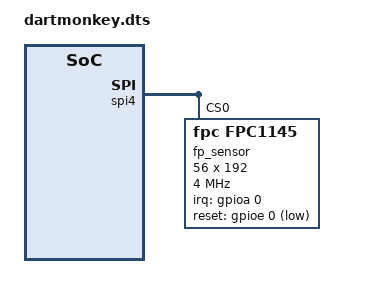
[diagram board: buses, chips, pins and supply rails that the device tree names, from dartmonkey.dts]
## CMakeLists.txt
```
# Copyright 2024 The ChromiumOS Authors
# Use of this source code is governed by a BSD-style license that can be
# found in the LICENSE file.

zephyr_library_sources("src/power.c")
zephyr_library_sources("src/init.c")

zephyr_library_sources_ifdef(CONFIG_DARTMONKEY_EC_RO_QUIRKS "src/ec_quirks.c")
zephyr_library_sources_ifdef(CONFIG_EC_HOST_CMD "src/fp_transport.c")
```

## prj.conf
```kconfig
# Copyright 2024 The ChromiumOS Authors
# Use of this source code is governed by a BSD-style license that can be
# found in the LICENSE file.

CONFIG_BOARD_DARTMONKEY=y

# Peripherials
CONFIG_COUNTER=y
CONFIG_DMA=y

# Hwinfo (used by cros-system driver for STM32)
CONFIG_HWINFO=y

# STM32 flash driver options
CONFIG_FLASH_STM32_READOUT_PROTECTION=y
#CONFIG_FLASH_STM32_WRITE_PROTECT=y
#CONFIG_FLASH_STM32_BLOCK_REGISTERS=y

# STM32 entropy driver options
CONFIG_ENTROPY_STM32_THR_POOL_SIZE=32
CONFIG_ENTROPY_STM32_THR_THRESHOLD=16

# IWDG watchdog
CONFIG_IWDG_STM32_INITIAL_TIMEOUT=10000
CONFIG_PLATFORM_EC_WATCHDOG_PERIOD_MS=10000
CONFIG_PLATFORM_EC_WATCHDOG_WARNING_LEADING_TIME_MS=3000
#CONFIG_PLATFORM_EC_WATCHDOG_HELPER=y

# Set HOOK_TICK INTERVAL in microseconds to reload watchdog
CONFIG_CROS_EC_HOOK_TICK_INTERVAL=500000

# CrOS drivers
# CONFIG_CROS_FLASH_READOUT_PROTECTION=y
CONFIG_CROS_SYSTEM_STM32=y

# Priorities
CONFIG_PLATFORM_EC_FLASH_INIT_PRIORITY=60
CONFIG_CROS_SYSTEM_STM32_INIT_PRIORITY=71
CONFIG_PLATFORM_EC_SYSTEM_PRE_INIT_PRIORITY=72

# Host Commands
CONFIG_EC_HOST_CMD_INITIALIZE_AT_BOOT=y
CONFIG_EC_HOST_CMD_HANDLER_TX_BUFFER_SIZE=552
#CONFIG_EC_HOST_CMD_HANDLER_TX_BUFFER_SIZE=549
CONFIG_EC_HOST_CMD_HANDLER_RX_BUFFER_SIZE=544
CONFIG_EC_HOST_CMD_BACKEND_SPI=y

# Increase IDLE stack for the IDLE timer
#CONFIG_IDLE_STACK_SIZE=550

# Allow usage of "%l" and "%i"
#CONFIG_PLATFORM_EC_PRINTF_LONG_IS_32BITS=y

# Enable DMA for SPI, which is used for communication with a sensor
#CONFIG_SPI_STM32_DMA=y
CONFIG_SPI_STM32_DMA=n
#CONFIG_SPI_STM32_INTERRUPT=y

# Enable and create uncachable buffers needed for DMA
CONFIG_NOCACHE_MEMORY=y
CONFIG_DCACHE=y

CONFIG_TIMER_READS_ITS_FREQUENCY_AT_RUNTIME=y

# Clear MPU and cache before boot
CONFIG_INIT_ARCH_HW_AT_BOOT=y
```

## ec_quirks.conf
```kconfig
# Copyright 2024 The ChromiumOS Authors
# Use of this source code is governed by a BSD-style license that can be
# found in the LICENSE file.

CONFIG_DARTMONKEY_EC_RO_QUIRKS=y
#CONFIG_CROS_FLASH_STM32_EC_JUMP_STRUCTURE=y
```

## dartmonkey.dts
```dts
/* Copyright 2023 The ChromiumOS Authors.
 * Use of this source code is governed by a BSD-style license that can be
 * found in the LICENSE file.
 */

#include "soc.dtsi"
#include "gpio.dtsi"
#include "rwsig.dtsi"

#include <cros/integrated_fwid.dtsi>

/ {
	chosen {
		cros-fp,fingerprint-sensor = &fp_sensor;
		zephyr,host-cmd-spi-backend = &spi1;
		zephyr,nocache-ram = &sram4;
	};

	named-bbram-regions {
		compatible = "named-bbram-regions";

		scratchpad {
			offset = <0x00>;
			size = <0x02>;
		};
		// TODO check that with STM32_EXTENDED_RESET_FLAGS
		saved-reset-flags {
			offset = <0x02>;
			size = <0x04>;
		};
		saved-panic-reason {
			offset = <0x06>;
			size = <0x02>;
		};
		saved-panic-info {
			offset = <0x08>;
			size = <0x02>;
		};
		saved-panic-exception {
			offset = <0x0a>;
			size = <0x02>;
		};
		saved-panic-flags {
			offset = <0x0c>;
			size = <0x02>;
		};
	};

	binman {
		/* First 6 sectors (128KB each) used for RO */
		wp-ro {
			offset = <0x0>;
			size = <0xc0000>;
			ec-ro {
				pad-byte = <0xff>;
			};
		};

		/* Two sectors used for rollback (128KB each) */
		rollback0 {
			offset = <0xc0000>;
			size = <0x20000>;
			type = "blob";
			filename = "../build-rw/rollback_initial_data.bin";
		};

		rollback1 {
			offset = <0xe0000>;
			size = <0x20000>;
			type = "blob";
			filename = "../build-rw/rollback_initial_data.bin";
		};

		/* Remaining 8 sectors (128KB each) used for RW */
		ec-rw {
			offset = <0x100000>;
			size = <0x100000>;
			rw-fw {
				/*
				 * Clang doesn't emit STT_SECTION symbols (also
				 * called 'section symbols'), so 'rom_start'
				 * symbol is not available. Fortunately, Zephyr
				 * linker scripts provide '__rom_start_address'
				 * symbol which points to the beginning of
				 * 'rom_start' section.
				 */
				zephyr-rw {
					elf-base-sym = "__rom_start_address";
				};
			};
		};
		pad-byte = <0xff>;
	};
};

&flash0 {
	partitions {
		compatible = "fixed-partitions";
		#address-cells = <1>;
		#size-cells = <1>;

		/* Seventh sector is used as first rollback sector. */
		rollback0: partition@c0000 {
			label = "rollback0";
			reg = <0xc0000 DT_SIZE_K(128)>;
		};

		/* Eighth sector is used as second rollback sector. */
		rollback1: partition@e0000 {
			label = "rollback1";
			reg = <0xe0000 DT_SIZE_K(128)>;
		};
	};
};

&spi4 {
	fp_sensor: fpc1145@0 {
		compatible = "fpc,fpc1145";
		reg = <0>;
		spi-max-frequency = <4000000>;

		width = <56>;
		height = <192>;
		bits-per-pixel = <8>;
		v4l2-pixel-format = "V4L2_PIX_FMT_GREY";

		irq-gpios = <&gpioa 0 (GPIO_ACTIVE_HIGH | GPIO_PULL_DOWN)>;
		reset-gpios = <&gpioe 0 GPIO_ACTIVE_LOW>;
	};
};
```

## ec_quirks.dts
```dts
/* Copyright 2023 The ChromiumOS Authors.
 * Use of this source code is governed by a BSD-style license that can be
 * found in the LICENSE file.
 */

/*
 * RDP1 byte can be any byte (except 0xAA and 0xCC). By default STM32 HAL uses
 * 0x55, but old FPMCU RO reports RDP1 when the RDP byte is 0x00, so override
 * the default.
 */
// TODO check that
//&flash {
//	st,rdp1-enable-byte = <0x00>;
//};
```

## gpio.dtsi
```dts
/* Copyright 2024 The ChromiumOS Authors.
 * Use of this source code is governed by a BSD-style license that can be
 * found in the LICENSE file.
 */

#include <dt-bindings/gpio_defines.h>

/ {
	aliases {
		gpio-wp = &ec_wp_l;
	};

	named-gpios {
		compatible = "named-gpios";

		ap_ec_int_l {
			gpios = <&gpioa 1 GPIO_OUTPUT_HIGH>;
			enum-name = "GPIO_EC_INT_L";
		};

		// TODO check ifdef APPLY_RESET_LOOP_FIX
		ec_wp_l: write-protect {
			gpios = <&gpiob 7 GPIO_INPUT>;
		};

		/* TODO(b/178808871): Only enable pull up when doing detection. */
		fp_sensor_sel: fp_sensor_sel {
			gpios = <&gpioe 1 (GPIO_INPUT | GPIO_PULL_UP)>;
		};

		slp_l: slp_l {
			gpios = <&gpiod 13 GPIO_INPUT>;
		};

		slp_alt_l: slp_alt_l {
			gpios = <&gpioa 11 GPIO_INPUT>;
		};

//		transport_sel: transport_sel {
//			gpios = <&gpiob 1 GPIO_INPUT>;
//		};
//
		user_pres_l {
			gpios = <&gpioc 5 GPIO_ODR_HIGH>;
		};

		/* Used to the transport layer detection at the beginning of the
		 * boot.
		 */
		div_highside: div_highside {
			gpios = <&gpiob 8 GPIO_OUTPUT_HIGH>;
		};

		/* unimplemented GPIOs */
		entering-rw {
			enum-name = "GPIO_ENTERING_RW";
		};
	};
};
```

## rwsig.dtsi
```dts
/* Copyright 2024 The ChromiumOS Authors.
 * Use of this source code is governed by a BSD-style license that can be
 * found in the LICENSE file.
 */

&binman {
	wp-ro {
		ec-ro {
			key-ro {
				compatible = "cros-ec,flash-layout";
				type = "section";
				offset = <(0xc0000 - 0x400)>;
				size = <0x400>;
			};
		};
	};

	ec-rw {
		rw-fw {
			// TODO confirm that node
			rw-rbver {
				size = <4>;
				type = "section";
				/* points to
				 * current_image_data.rollback_version
				 */
				offset-from-elf = <&zephyr_rw>,
					"current_image_data", <40>;
				overlap;
			};

			sig-rw {
				type = "section";
				/* Offset within rw-fw */
				offset = <(0x100000 - 0x400)>;
				size = <0x400>;
			};
			pad-byte = <0xff>;
		};
	};
};
```

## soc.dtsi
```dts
/* Copyright 2024 The ChromiumOS Authors.
 * Use of this source code is governed by a BSD-style license that can be
 * found in the LICENSE file.
 */

#include <cros/st/stm32.dtsi>
#include <zephyr/dt-bindings/pinctrl/stm32-pinctrl.h>
#include <st/h7/stm32h743vitx-pinctrl.dtsi>

&iwdg {
	status = "okay";
};

//&timers9 {
//	/*
//	 * The counter has 16 bits. TIMPRE bit in RCC_DCKCFGR is 0 by default.
//	 * On Dragonclaw board APB2 prescaler is set to 2. In this case APB2
//	 * clock is 48Mhz, but TIM9 input clock is doubled, because TIMPRE=0
//	 * and APB2 prescaler > 1. Effectively TIM9 is clocked with 96Mhz clock.
//	 * Setting prescaler to 16384 will give about 11.2s maximum timeout.
//	 */
//	st,prescaler = <0x4000>;
//	status = "okay";
//	wdg_helper_counter: counter {
//		status = "okay";
//	};
//};
//
//&wdg_helper {
//	counter = <&wdg_helper_counter>;
//	status = "okay";
//};

/* RNG module uses hsi48 clock as a source by default. */
/* TODO: Enable only to get random number. Connect it to RNG and device suspend and resume?. */
&clk_hsi48 {
	status = "okay";
};

&perck {
	status = "okay";
	clocks = <&rcc STM32_SRC_HSI_KER CKPER_SEL(0)>;
};

&rng {
	status = "okay";
};

&dmamux1 {
	status = "okay";
};

// TODO USE only DMA2?
&dma1 {
	status = "okay";
};

&dma2 {
	status = "okay";
};

&spi1 {
	compatible = "st,stm32h7-spi", "st,stm32-spi-host-cmd", "st,stm32-spi-fifo";
	status = "okay";

	pinctrl-0 = <&spi1_nss_pa4 &spi1_sck_pa5 &spi1_miso_pa6 &spi1_mosi_pa7>;
	pinctrl-names = "default";

	/* Select per_ck(hsi_ker_ck) as source clock for SPI1 */
	clocks = <&rcc STM32_CLOCK(APB2, 12U)>,
		 <&rcc STM32_SRC_CKPER SPI123_SEL(4)>;

	dmas = <&dmamux1 11 38 (STM32_DMA_PERIPH_TX | STM32_DMA_PRIORITY_VERY_HIGH)
		 &dmamux1 8 37 (STM32_DMA_PERIPH_RX | STM32_DMA_PRIORITY_VERY_HIGH)>;
	dma-names = "tx", "rx";

	/* This field is used to point at our CS pin */
	cs-gpios = <&gpioa 4 (GPIO_PULL_UP)>;
};

&spi4 {
//	pinctrl-0 = <&spi4_nss_pe4 &spi4_sck_pe2
//		     &spi4_miso_pe5 &spi4_mosi_pe6>;
//	dev config
	pinctrl-0 = <&spi4_nss_pe11 &spi4_sck_pe12
		     &spi4_miso_pe13 &spi4_mosi_pe14>;
	pinctrl-names = "default";

	/* Select hsi_ker_ck as source clock for SPI4 */
	clocks = <&rcc STM32_CLOCK(APB2, 13U)>,
		 <&rcc STM32_SRC_HSI_KER SPI45_SEL(3)>;

	//Channels for compability. TODO USE only one DMA?
	dmas = <&dmamux1 9 84 (STM32_DMA_PERIPH_TX | STM32_DMA_PRIORITY_HIGH)
		 &dmamux1 12 83 (STM32_DMA_PERIPH_RX | STM32_DMA_PRIORITY_HIGH)>;
	dma-names = "tx", "rx";
};

//&flash0 {
//	/*
//	 * 4 byte parallelism can be enabled when the voltage is at least 2.7V.
//	 * See STM32F412 reference manual for more details.
//	 */
//	write-block-size = <4>;
//};
//

/ {
	/* Overwrite SRAM1 node, to a common node handling SRAM1, SRAM2 and
	 * SRAM3. This is contious memory anyway. We need that to store
	 * big FP buffers.
	 */
	sram1_3: memory@30000000 {
		compatible = "zephyr,memory-region";
		reg = <0x30000000 DT_SIZE_K(288)>;
		zephyr,memory-region = "SRAM1-3";
	};

};
/* SRAM2 and SRAM3 memory is handled by a common sram1_3 node. */
/delete-node/ &sram2;
/delete-node/ &sram3;

/* Configure to use . */
&pll {
	div-m = <4>;
	mul-n = <50>;
	div-p = <2>;
	clocks = <&clk_hsi>;
	status = "okay";
};

//&rcc {
//	/* TODO check APB1-4 enr, if enabled - rather yes */
//	d1ppre = <2>;
//	d2ppre1 = <2>;
//	d2ppre2 = <2>;
//	d3ppre = <2>;
//};

&usart1 {
	/* Select hsi_ker_ck as source clock for USART1 */
	clocks = <&rcc STM32_CLOCK_BUS_APB2 0x00000010>,
		 <&rcc STM32_SRC_HSI_KER USART16_SEL(3)>;
};
```

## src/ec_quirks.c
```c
/* Copyright 2024 The ChromiumOS Authors
 * Use of this source code is governed by a BSD-style license that can be
 * found in the LICENSE file.
 */

#include "hooks.h"

#include <zephyr/device.h>
#include <zephyr/devicetree.h>
#include <zephyr/drivers/clock_control/stm32_clock_control.h>
#include <zephyr/drivers/reset.h>
#include <zephyr/drivers/timer/system_timer.h>
#include <zephyr/init.h>
#include <zephyr/kernel.h>

// #include <stm32f4xx_ll_tim.h>

// #define RESET_PERIPHERAL(idx) \
// 	reset_line_toggle_dt(&(struct reset_dt_spec)RESET_DT_SPEC_GET(idx));

// #define TIMER2_NODE DT_NODELABEL(timers2)

extern void arm_core_mpu_disable(void);

/* TODO: Rename it, since it's not EC quirk. We need that also for Zephyr only.
 */
static void prepare_for_sysjump_to_ec(void)
{
	/* Reset timers and UARTs to the defaults. */
	// DT_FOREACH_STATUS_OKAY(st_stm32_timers, RESET_PERIPHERAL);
	// DT_FOREACH_STATUS_OKAY(st_stm32_uart, RESET_PERIPHERAL);

	/*
	 * When HW_STACK_PROTECTION is enabled on ARMv7-M microcontroller then
	 * the last 64 bytes of the stack is protected to detect stack
	 * overflows. Size of protected region must be greater than exception
	 * frame, so CPU won't overwrite some other data when exception occurs.
	 *
	 * EC uses different RAM layout than Zephyr, so it's possible that after
	 * sysjump some variables are stored in the protected region. EC also
	 * reconfigures MPU late (Zephyr does it in reset handler).
	 *
	 * Disable MPU protection to avoid problems after sysjump to EC.
	 */
	arm_core_mpu_disable();

	// /*
	//  * Disable system clock (Cortex-M Systick it this case) because it's
	//  * unused in EC.
	//  */
	// sys_clock_disable();
}
DECLARE_HOOK(HOOK_SYSJUMP, prepare_for_sysjump_to_ec, HOOK_PRIO_LAST);
```

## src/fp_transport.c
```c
/* Copyright 2024 The ChromiumOS Authors
 * Use of this source code is governed by a BSD-style license that can be
 * found in the LICENSE file.
 */

#include <zephyr/device.h>
#include <zephyr/devicetree.h>
#include <zephyr/drivers/gpio.h>
#include <zephyr/init.h>
#include <zephyr/kernel.h>

#include <ec_commands.h>
#include <fpsensor/fpsensor_detect.h>
#include <gpio_signal.h>

enum fp_transport_type get_fp_transport_type(void)
{
	return FP_TRANSPORT_TYPE_SPI;
}
```

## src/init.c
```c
/* Copyright 2024 The ChromiumOS Authors
 * Use of this source code is governed by a BSD-style license that can be
 * found in the LICENSE file.
 */

#include <zephyr/init.h>
#include <zephyr/kernel.h>

#include <stm32_ll_pwr.h>
#include <stm32_ll_rcc.h>

static int init_fp_buffers(void)
{
	// uint8_t fp_template[FP_MAX_FINGER_COUNT]
	// 		   [FP_ALGORITHM_TEMPLATE_SIZE] FP_TEMPLATE_SECTION
	// 			   __aligned(4);
	// struct enc_buffer fp_enc_buffer FP_TEMPLATE_SECTION;
	// uint8_t fp_buffer[FP_SENSOR_IMAGE_SIZE] FP_FRAME_SECTION
	// __aligned(4);

	return 0;
}
SYS_INIT(init_fp_buffers, POST_KERNEL, CONFIG_APPLICATION_INIT_PRIORITY);

// TODO pre-devices?
static int init_clock(void)
{
	/* PLL is enabled in DTS to configure it by the STM clock driver. ...
	 * speed up CPU, switch sysclk*/
	LL_RCC_PLL1_Disable();
	// TODO disable pll before?
	LL_RCC_PLL1Q_Disable();
	LL_RCC_PLL1R_Disable();

	// Table 60. Kernel clock distribution overview - max freq for VSO
	LL_PWR_SetRegulVoltageScaling(LL_PWR_REGU_VOLTAGE_SCALE3);

	/* Console. */
	// TODO add second clock to uart dts? STM32_UART_DOMAIN_CLOCK_SUPPORT.
	// To get a proper source clock Current version will work only for APB
	// prescalers = 1 and SYSCLK = HSI
	//	LL_RCC_SetUSARTClockSource(LL_RCC_USART16_CLKSOURCE_HSI);

	// #define USART16_SEL(val)	STM32_CLOCK(val, 7, 3, D2CCIP2R_REG)

	/* SPI4 for sensor. */
	// LL_RCC_SetSPIClockSource(LL_RCC_SPI45_CLKSOURCE_HSI);
	/* Set HSI as source for per_ck, which is used for SPI1. */
	// Change to #define USART16_SEL(val)	STM32_CLOCK(val, 7, 3,
	// D2CCIP2R_REG)

	//	LL_RCC_SetCLKPClockSource(LL_RCC_CLKP_CLKSOURCE_HSI);
	/* SPI1 for Host Commands. */
	//	LL_RCC_SetSPIClockSource(LL_RCC_SPI123_CLKSOURCE_CLKP);

	// TODO Check other peri - SPI, RNG.
	// TODO Reconfigure timers.

	return 0;
}
SYS_INIT(init_clock, POST_KERNEL, CONFIG_APPLICATION_INIT_PRIORITY);
```

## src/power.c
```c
/* Copyright 2024 The ChromiumOS Authors
 * Use of this source code is governed by a BSD-style license that can be
 * found in the LICENSE file.
 */

#include "fpsensor/fpsensor_detect.h"
#include "hooks.h"

#include <zephyr/device.h>
#include <zephyr/devicetree.h>
#include <zephyr/drivers/gpio.h>
#include <zephyr/init.h>
#include <zephyr/kernel.h>
#include <zephyr/pm/device.h>
#include <zephyr/pm/policy.h>

static struct k_work slp_event_work;
static struct gpio_callback slp_event_callback;
static struct gpio_callback slp_alt_event_callback;

static void slp_event_handler(struct k_work *work)
{
	static bool suspend_allowed = true;
	/*
	 * Behavior:
	 * AP Active  (ex. Intel S0):   SLP_L is 1
	 * AP Suspend (ex. Intel S0ix): SLP_L is 0
	 * The alternative SLP_ALT_L should be pulled high at all the times.
	 *
	 * Legacy Intel behavior:
	 * in S3:   SLP_ALT_L is 0 and SLP_L is X.
	 * in S0ix: SLP_ALT_L is X and SLP_L is 0.
	 * in S0:   SLP_ALT_L is 1 and SLP_L is 1.
	 * in S5/G3, the FP MCU should not be running.
	 */
	int running = gpio_pin_get_dt(GPIO_DT_FROM_NODELABEL(slp_alt_l)) &&
		      gpio_pin_get_dt(GPIO_DT_FROM_NODELABEL(slp_l));

	if (running) { /* AP is S0 */
		if (suspend_allowed) {
			pm_policy_state_lock_get(PM_STATE_SUSPEND_TO_IDLE,
						 PM_ALL_SUBSTATES);
			suspend_allowed = false;
		}
		/* Added for compatibility with CrosEC, even if there are no
		 * consumers for this signal.
		 */
		hook_notify(HOOK_CHIPSET_RESUME);
	} else { /* AP is suspend/S0ix/S3 */
		hook_notify(HOOK_CHIPSET_SUSPEND);
		if (!suspend_allowed) {
			pm_policy_state_lock_put(PM_STATE_SUSPEND_TO_IDLE,
						 PM_ALL_SUBSTATES);
			suspend_allowed = true;
		}
	}
}

static void slp_event_isr(const struct device *port, struct gpio_callback *cb,
			  gpio_port_pins_t pins)
{
	/* Use k_work to call hook_notify */
	k_work_submit(&slp_event_work);
}

static int slp_event_init(void)
{
	k_work_init(&slp_event_work, slp_event_handler);

	/* Enable and configure interrupts for both sleep pins */
	gpio_init_callback(&slp_event_callback, slp_event_isr,
			   BIT(GPIO_DT_FROM_NODELABEL(slp_l)->pin));
	gpio_add_callback_dt(GPIO_DT_FROM_NODELABEL(slp_l),
			     &slp_event_callback);
	gpio_pin_interrupt_configure_dt(GPIO_DT_FROM_NODELABEL(slp_l),
					GPIO_INT_EDGE_BOTH);

	gpio_init_callback(&slp_alt_event_callback, slp_event_isr,
			   BIT(GPIO_DT_FROM_NODELABEL(slp_alt_l)->pin));
	gpio_add_callback_dt(GPIO_DT_FROM_NODELABEL(slp_alt_l),
			     &slp_alt_event_callback);
	gpio_pin_interrupt_configure_dt(GPIO_DT_FROM_NODELABEL(slp_alt_l),
					GPIO_INT_EDGE_BOTH);

	/* Get init state of the sleep pins */
	k_work_submit(&slp_event_work);

	return 0;
}
SYS_INIT(slp_event_init, POST_KERNEL, CONFIG_APPLICATION_INIT_PRIORITY);
```
